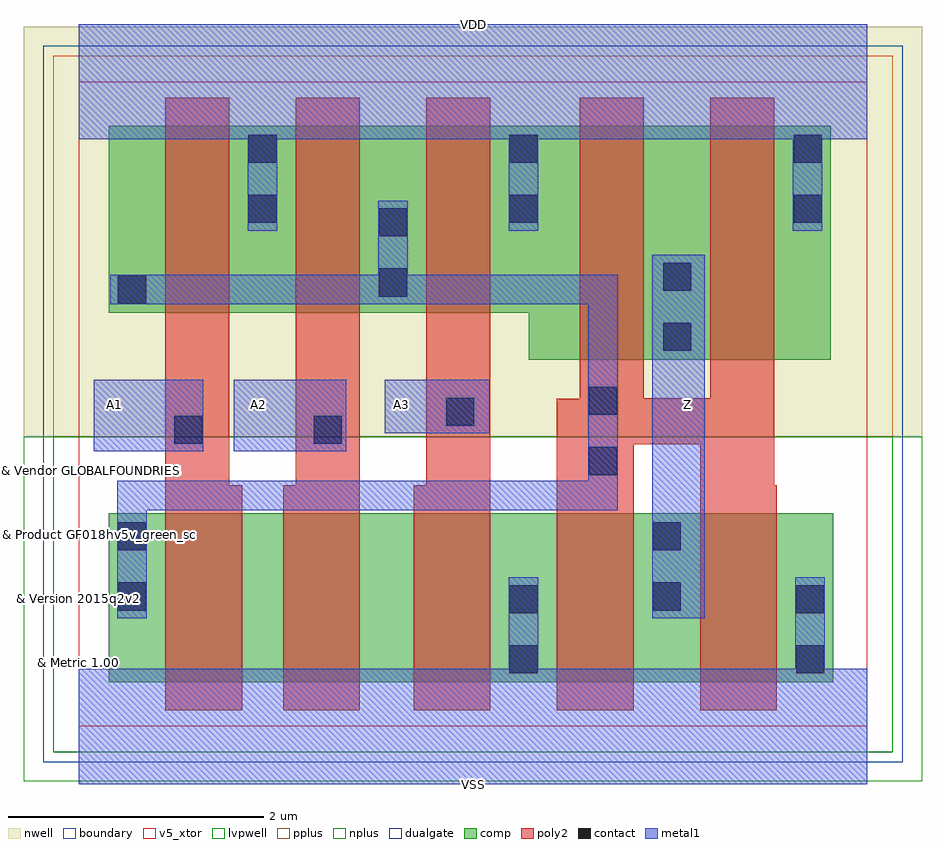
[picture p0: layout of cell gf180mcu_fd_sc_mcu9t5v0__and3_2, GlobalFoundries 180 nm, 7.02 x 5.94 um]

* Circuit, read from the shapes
.subckt gf180mcu_fd_sc_mcu9t5v0__and3_2 A1 A2 A3 VDD VSS Z
XM1 n1 A1 n2 VSUBS nfet_05v0 w=1.32u l=0.6u
XM2 n3 A2 n1 VSUBS nfet_05v0 w=1.32u l=0.6u
XM3 VSS A3 n3 VSUBS nfet_05v0 w=1.32u l=0.6u
XM4 Z n2 VSS VSUBS nfet_05v0 w=1.32u l=0.6u m=2
XM5 VDD A1 n2 n4 pfet_05v0 w=1.46u l=0.5u
XM6 n2 A2 VDD n4 pfet_05v0 w=1.46u l=0.5u
XM7 VDD A3 n2 n4 pfet_05v0 w=1.46u l=0.5u
XM8 Z n2 VDD n4 pfet_05v0 w=1.83u l=0.5u m=2
.ends

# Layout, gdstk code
import gdstk
lib = gdstk.Library(unit=1e-6, precision=1e-09)
def R(c, l, rs):  # rectangles x0, y0, x1, y1
    for r in rs: c.add(gdstk.rectangle(r[:2], r[2:], *l))
def P(c, l, *ps):  # polygons
    for p in ps: c.add(gdstk.Polygon(p, *l))
boundary = (0, 0)
nwell = (21, 0)
comp = (22, 0)
poly2 = (30, 0)
pplus = (31, 0)
nplus = (32, 0)
contact = (33, 0)
metal1 = (34, 0)
dualgate = (55, 0)
v5_xtor = (112, 1)
lvpwell = (204, 0)

gf180mcu_fd_sc_mcu9t5v0_ = lib.new_cell('gf180mcu_fd_sc_mcu9t5v0__and3_2')
R(gf180mcu_fd_sc_mcu9t5v0_, boundary, [(0,0,6.16,5.04)])
R(gf180mcu_fd_sc_mcu9t5v0_, nwell, [(-0.43,2.265,6.59,5.47)])
R(gf180mcu_fd_sc_mcu9t5v0_, comp, [(0.235,0.345,5.895,1.665)])
P(gf180mcu_fd_sc_mcu9t5v0_, comp, [(3.515,2.865),(3.515,3.235),(0.235,3.235),(0.235,4.695),(5.875,4.695),(5.875,2.865)])
P(gf180mcu_fd_sc_mcu9t5v0_, poly2, [(0.675,0.125),(0.675,4.915),(1.175,4.915),(1.175,1.885),(1.275,1.885),(1.275,0.125)],
  [(1.595,0.125),(1.595,1.885),(1.695,1.885),(1.695,4.915),(2.195,4.915),(2.195,0.125)],
  [(2.615,0.125),(2.615,1.885),(2.715,1.885),(2.715,4.915),(3.215,4.915),(3.215,0.125)],
  [(3.735,0.125),(3.735,2.56),(3.915,2.56),(3.915,4.915),(4.415,4.915),(4.415,2.565),(4.935,2.565),(4.935,4.915),(5.435,4.915),(5.435,1.885),(5.455,1.885),(5.455,0.125),(4.855,0.125),(4.855,2.205),(4.335,2.205),(4.335,0.125)])
R(gf180mcu_fd_sc_mcu9t5v0_, pplus, [(-0.2,2.265,6.36,5.24)])
R(gf180mcu_fd_sc_mcu9t5v0_, nplus, [(-0.2,-0.2,6.36,2.265)])
R(gf180mcu_fd_sc_mcu9t5v0_, contact, [(3.365,0.415,3.585,0.635), (5.605,0.415,5.825,0.635), (3.365,0.885,3.585,1.105), (5.605,0.885,5.825,1.105), (0.305,0.905,0.525,1.125), (4.485,0.905,4.705,1.125), (0.305,1.375,0.525,1.595), (4.485,1.375,4.705,1.595), (3.985,1.965,4.205,2.185), (0.745,2.21,0.965,2.43), (1.835,2.21,2.055,2.43), (2.87,2.35,3.09,2.57), (3.985,2.435,4.205,2.655), (4.565,2.935,4.785,3.155), (0.305,3.305,0.525,3.525), (2.345,3.36,2.565,3.58), (4.565,3.405,4.785,3.625), (2.345,3.83,2.565,4.05), (1.325,3.935,1.545,4.155), (3.365,3.935,3.585,4.155), (5.585,3.935,5.805,4.155), (1.325,4.405,1.545,4.625), (3.365,4.405,3.585,4.625), (5.585,4.405,5.805,4.625)])
R(gf180mcu_fd_sc_mcu9t5v0_, metal1, [(4.48,0.845,4.89,3.685), (0.115,2.15,0.97,2.71), (1.21,2.15,2.09,2.71), (2.39,2.29,3.21,2.71)])
P(gf180mcu_fd_sc_mcu9t5v0_, metal1, [(0.3,0.845),(0.3,1.92),(3.98,1.92),(3.98,3.3),(0.245,3.3),(0.245,3.53),(2.34,3.53),(2.34,4.11),(2.57,4.11),(2.57,3.53),(4.21,3.53),(4.21,1.69),(0.53,1.69),(0.53,0.845)],
  [(0,-0.45),(0,0.45),(3.36,0.45),(3.36,1.165),(3.59,1.165),(3.59,0.45),(5.6,0.45),(5.6,1.165),(5.83,1.165),(5.83,0.45),(6.16,0.45),(6.16,-0.45)],
  [(1.32,3.875),(1.32,4.59),(0,4.59),(0,5.49),(6.16,5.49),(6.16,4.59),(5.81,4.59),(5.81,3.875),(5.58,3.875),(5.58,4.59),(3.59,4.59),(3.59,3.875),(3.36,3.875),(3.36,4.59),(1.55,4.59),(1.55,3.875)])
R(gf180mcu_fd_sc_mcu9t5v0_, dualgate, [(-0.28,-0.28,6.44,5.32)])
R(gf180mcu_fd_sc_mcu9t5v0_, v5_xtor, [(0,0,6.16,5.04)])
R(gf180mcu_fd_sc_mcu9t5v0_, lvpwell, [(-0.43,-0.43,6.59,2.265)])
gf180mcu_fd_sc_mcu9t5v0_.add(gdstk.Label('A1', (0.28,2.52), layer=34, texttype=10))
gf180mcu_fd_sc_mcu9t5v0_.add(gdstk.Label('A2', (1.4,2.52), layer=34, texttype=10))
gf180mcu_fd_sc_mcu9t5v0_.add(gdstk.Label('A3', (2.52,2.52), layer=34, texttype=10))
gf180mcu_fd_sc_mcu9t5v0_.add(gdstk.Label('VDD', (3.08,5.49), layer=34, texttype=10))
gf180mcu_fd_sc_mcu9t5v0_.add(gdstk.Label('VSS', (3.08,-0.45), layer=34, texttype=10))
gf180mcu_fd_sc_mcu9t5v0_.add(gdstk.Label('Z', (4.76,2.52), layer=34, texttype=10))
gf180mcu_fd_sc_mcu9t5v0_.add(gdstk.Label('& Vendor GLOBALFOUNDRIES', (0,2), layer=63, texttype=63))
gf180mcu_fd_sc_mcu9t5v0_.add(gdstk.Label('& Product GF018hv5v_green_sc9', (0,1.5), layer=63, texttype=63))
gf180mcu_fd_sc_mcu9t5v0_.add(gdstk.Label('& Version 2015q2v2', (0,1), layer=63, texttype=63))
gf180mcu_fd_sc_mcu9t5v0_.add(gdstk.Label('& Metric 1.00', (0,0.5), layer=63, texttype=63))

lib.write_gds('gf180mcu_fd_sc_mcu9t5v0__and3_2.gds')
